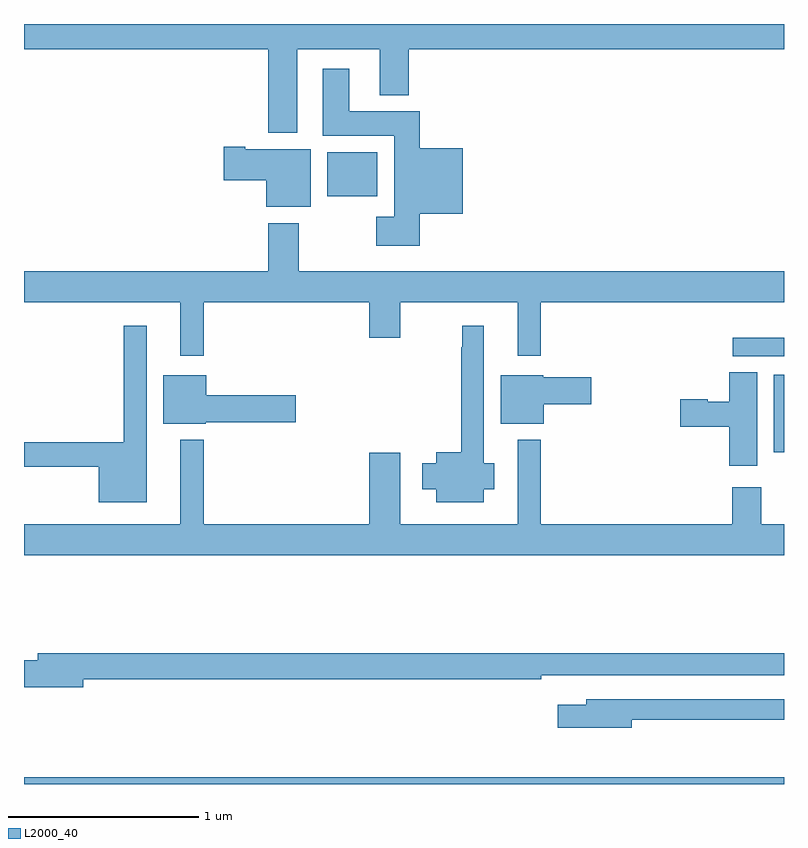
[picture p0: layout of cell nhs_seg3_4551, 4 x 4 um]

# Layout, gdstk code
import gdstk
lib = gdstk.Library(unit=1e-6, precision=1e-09)
def R(c, l, rs):  # rectangles x0, y0, x1, y1
    for r in rs: c.add(gdstk.rectangle(r[:2], r[2:], *l))
def P(c, l, *ps):  # polygons
    for p in ps: c.add(gdstk.Polygon(p, *l))
L2000_40 = (2000, 40)

nhs_seg3_4551 = lib.new_cell('nhs_seg3_4551')
R(nhs_seg3_4551, L2000_40, [(355,678.4,359,678.436), (358.946,680.147,359,680.554), (358.731,680.652,359,680.748), (356.597,681.494,356.86,681.724)])
P(nhs_seg3_4551, L2000_40, [(356.437,682.268),(356.873,682.268),(356.873,682.025),(357.026,682.025),(357.026,682.268),(359,682.268),(359,682.4),(355,682.4),(355,682.268),(356.285,682.268),(356.285,681.827),(356.437,681.827)],
  [(357.083,681.401),(357.31,681.401),(357.31,681.745),(357.083,681.745),(357.083,681.94),(356.713,681.94),(356.713,682.165),(356.573,682.165),(356.573,681.812),(356.948,681.812),(356.948,681.385),(356.853,681.385),(356.853,681.233),(357.083,681.233)],
  [(356.509,681.742),(356.164,681.742),(356.164,681.755),(356.052,681.755),(356.052,681.577),(356.276,681.577),(356.276,681.437),(356.509,681.437)],
  [(355.945,680.936),(356.816,680.936),(356.816,680.748),(356.98,680.748),(356.98,680.936),(357.599,680.936),(357.599,680.655),(357.721,680.655),(357.721,680.936),(359,680.936),(359,681.1),(356.445,681.1),(356.445,681.352),(356.285,681.352),(356.285,681.1),(355,681.1),(355,680.936),(355.823,680.936),(355.823,680.655),(355.945,680.655)],
  [(357.421,679.952),(357.475,679.952),(357.475,680.087),(357.421,680.087),(357.421,680.812),(357.307,680.812),(357.307,680.699),(357.3,680.699),(357.3,680.146),(357.17,680.146),(357.17,680.087),(357.095,680.087),(357.095,679.952),(357.17,679.952),(357.17,679.883),(357.421,679.883)],
  [(355.645,680.812),(355.524,680.812),(355.524,680.198),(355,680.198),(355,680.07),(355.394,680.07),(355.394,679.883),(355.645,679.883)],
  [(358.858,680.567),(358.712,680.567),(358.712,680.413),(358.598,680.413),(358.598,680.426),(358.455,680.426),(358.455,680.279),(358.712,680.279),(358.712,680.076),(358.858,680.076)],
  [(357.736,680.399),(357.985,680.399),(357.985,680.541),(357.732,680.541),(357.732,680.551),(357.509,680.551),(357.509,680.297),(357.736,680.297)],
  [(355.956,680.303),(356.431,680.303),(356.431,680.445),(355.96,680.445),(355.96,680.551),(355.733,680.551),(355.733,680.297),(355.956,680.297)],
  [(359,679.768),(358.879,679.768),(358.879,679.963),(358.727,679.963),(358.727,679.768),(357.721,679.768),(357.721,680.212),(357.599,680.212),(357.599,679.768),(356.98,679.768),(356.98,680.143),(356.816,680.143),(356.816,679.768),(355.945,679.768),(355.945,680.212),(355.823,680.212),(355.823,679.768),(355,679.768),(355,679.604),(359,679.604)],
  [(355.312,678.952),(357.722,678.952),(357.722,678.972),(359,678.972),(359,679.088),(355.073,679.088),(355.073,679.052),(355,679.052),(355,678.91),(355.312,678.91)],
  [(358.198,678.738),(359,678.738),(359,678.846),(357.959,678.846),(357.959,678.817),(357.81,678.817),(357.81,678.695),(358.198,678.695)])

lib.write_gds('nhs_seg3_4551.gds')
